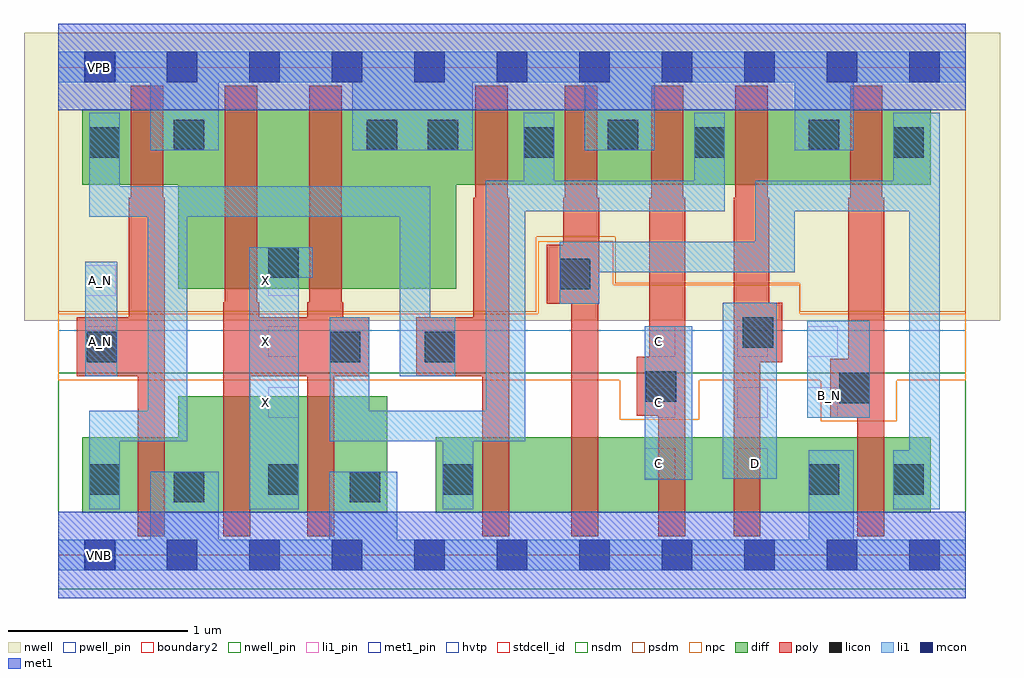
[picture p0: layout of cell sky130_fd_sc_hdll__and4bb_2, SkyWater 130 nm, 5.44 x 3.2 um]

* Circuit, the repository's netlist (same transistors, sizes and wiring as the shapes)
* Copyright 2020 The SkyWater PDK Authors
*
* Licensed under the Apache License, Version 2.0 (the "License");
* you may not use this file except in compliance with the License.
* You may obtain a copy of the License at
*
*     https://www.apache.org/licenses/LICENSE-2.0
*
* Unless required by applicable law or agreed to in writing, software
* distributed under the License is distributed on an "AS IS" BASIS,
* WITHOUT WARRANTIES OR CONDITIONS OF ANY KIND, either express or implied.
* See the License for the specific language governing permissions and
* limitations under the License.
*
* SPDX-License-Identifier: Apache-2.0

.SUBCKT sky130_fd_sc_hdll__and4bb_2 A_N B_N C D VGND VNB VPB VPWR X
*.PININFO A_N:I B_N:I C:I D:I VGND:I VNB:I VPB:I VPWR:I X:O
MMP0 y A VPWR VPB sky130_fd_pr__pfet_01v8_hvt m=1 w=0.42U l=0.18U mult=1 sa=0.265
+ sb=0.265 sd=0.28 area=0.063 perim=1.14
MMP1 y B VPWR VPB sky130_fd_pr__pfet_01v8_hvt m=1 w=0.42U l=0.18U mult=1 sa=0.265
+ sb=0.265 sd=0.28 area=0.063 perim=1.14
MMP2 y C VPWR VPB sky130_fd_pr__pfet_01v8_hvt m=1 w=0.42U l=0.18U mult=1 sa=0.265
+ sb=0.265 sd=0.28 area=0.063 perim=1.14
MMP3 y D VPWR VPB sky130_fd_pr__pfet_01v8_hvt m=1 w=0.42U l=0.18U mult=1 sa=0.265
+ sb=0.265 sd=0.28 area=0.063 perim=1.14
MMIP0 A A_N VPWR VPB sky130_fd_pr__pfet_01v8_hvt m=1 w=0.42U l=0.18U mult=1 sa=0.265
+ sb=0.265 sd=0.28 area=0.063 perim=1.14
MMIP1 B B_N VPWR VPB sky130_fd_pr__pfet_01v8_hvt m=1 w=0.42U l=0.18U mult=1 sa=0.265
+ sb=0.265 sd=0.28 area=0.063 perim=1.14
MMIP2 X y VPWR VPB sky130_fd_pr__pfet_01v8_hvt m=2 w=1.0U l=0.18U mult=1 sa=0.265
+ sb=0.265 sd=0.28 area=0.063 perim=1.14
MMN0 y A sndA VNB sky130_fd_pr__nfet_01v8 m=1 w=0.42U l=0.15U mult=1 sa=0.265 sb=0.265
+ sd=0.28 area=0.063 perim=1.14
MMN1 sndA B sndB VNB sky130_fd_pr__nfet_01v8 m=1 w=0.42U l=0.15U mult=1 sa=0.265
+ sb=0.265 sd=0.28 area=0.063 perim=1.14
MMN2 sndB C sndC VNB sky130_fd_pr__nfet_01v8 m=1 w=0.42U l=0.15U mult=1 sa=0.265
+ sb=0.265 sd=0.28 area=0.063 perim=1.14
MMN3 sndC D VGND VNB sky130_fd_pr__nfet_01v8 m=1 w=0.42U l=0.15U mult=1 sa=0.265
+ sb=0.265 sd=0.28 area=0.063 perim=1.14
MMIN0 A A_N VGND VNB sky130_fd_pr__nfet_01v8 m=1 w=0.42U l=0.15U mult=1 sa=0.265
+ sb=0.265 sd=0.28 area=0.063 perim=1.14
MMIN1 B B_N VGND VNB sky130_fd_pr__nfet_01v8 m=1 w=0.42U l=0.15U mult=1 sa=0.265
+ sb=0.265 sd=0.28 area=0.063 perim=1.14
MMIN2 X y VGND VNB sky130_fd_pr__nfet_01v8 m=2 w=0.65U l=0.15U mult=1 sa=0.265
+ sb=0.265 sd=0.28 area=0.063 perim=1.14
.ENDS sky130_fd_sc_hdll__and4bb_2

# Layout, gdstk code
import gdstk
lib = gdstk.Library(unit=1e-6, precision=1e-09)
def R(c, l, rs):  # rectangles x0, y0, x1, y1
    for r in rs: c.add(gdstk.rectangle(r[:2], r[2:], *l))
def A(c, l, x, y, w, h, nx, ny, dx, dy):  # array of equal rectangles
    R(c, l, [(x+i*dx, y+j*dy, x+i*dx+w, y+j*dy+h) for i in range(nx) for j in range(ny)])
def P(c, l, *ps):  # polygons
    for p in ps: c.add(gdstk.Polygon(p, *l))
nwell_pin = (64, 16)
nwell = (64, 20)
diff = (65, 20)
poly = (66, 20)
licon = (66, 44)
li1_pin = (67, 16)
li1 = (67, 20)
mcon = (67, 44)
met1_pin = (68, 16)
met1 = (68, 20)
hvtp = (78, 44)
stdcell_id = (81, 4)
nsdm = (93, 44)
psdm = (94, 20)
npc = (95, 20)
pwell_pin = (122, 16)
boundary2 = (236, 0)

sky130_fd_sc_hdll__and4b = lib.new_cell('sky130_fd_sc_hdll__and4bb_2')
R(sky130_fd_sc_hdll__and4b, nwell_pin, [(0.15,2.635,0.32,2.805)])
R(sky130_fd_sc_hdll__and4b, nwell, [(-0.19,1.305,5.25,2.91)])
R(sky130_fd_sc_hdll__and4b, diff, [(2.105,0.235,4.865,0.655)])
P(sky130_fd_sc_hdll__and4b, diff, [(4.865,2.485),(0.135,2.485),(0.135,2.065),(0.67,2.065),(0.67,1.485),(2.22,1.485),(2.22,2.065),(4.865,2.065)],
  [(1.835,0.885),(0.67,0.885),(0.67,0.655),(0.135,0.655),(0.135,0.235),(1.835,0.235)])
P(sky130_fd_sc_hdll__and4b, poly, [(0.595,1.99),(0.585,1.99),(0.585,2.615),(0.405,2.615),(0.405,1.99),(0.395,1.99),(0.395,1.325),(0.105,1.325),(0.105,0.995),(0.445,0.995),(0.445,0.105),(0.595,0.105)],
  [(1.735,1.325),(1.59,1.325),(1.59,1.41),(1.58,1.41),(1.58,2.615),(1.4,2.615),(1.4,1.41),(1.39,1.41),(1.39,1.325),(1.12,1.325),(1.12,1.41),(1.11,1.41),(1.11,2.615),(0.93,2.615),(0.93,1.41),(0.92,1.41),(0.92,0.105),(1.07,0.105),(1.07,0.995),(1.39,0.995),(1.39,0.105),(1.54,0.105),(1.54,0.995),(1.735,0.995)],
  [(2.515,1.99),(2.505,1.99),(2.505,2.615),(2.325,2.615),(2.325,1.99),(2.315,1.99),(2.315,1.325),(1.995,1.325),(1.995,0.995),(2.365,0.995),(2.365,0.105),(2.515,0.105)],
  [(3.015,1.99),(3.005,1.99),(3.005,2.615),(2.825,2.615),(2.825,1.99),(2.815,1.99),(2.815,1.73),(2.725,1.73),(2.725,1.4),(2.86,1.4),(2.86,0.105),(3.01,0.105),(3.01,1.4),(3.015,1.4)],
  [(3.495,1.99),(3.485,1.99),(3.485,2.615),(3.305,2.615),(3.305,1.99),(3.295,1.99),(3.295,1.105),(3.225,1.105),(3.225,0.775),(3.345,0.775),(3.345,0.105),(3.495,0.105)],
  [(4.035,1.405),(3.965,1.405),(3.965,1.99),(3.955,1.99),(3.955,2.615),(3.775,2.615),(3.775,1.99),(3.765,1.99),(3.765,0.105),(3.915,0.105),(3.915,1.075),(4.035,1.075)],
  [(4.605,1.99),(4.595,1.99),(4.595,2.615),(4.415,2.615),(4.415,1.99),(4.405,1.99),(4.405,1.095),(4.305,1.095),(4.305,0.765),(4.455,0.765),(4.455,0.105),(4.605,0.105)])
R(sky130_fd_sc_hdll__and4b, licon, [(0.645,0.295,0.815,0.465), (1.625,0.295,1.795,0.465), (0.175,0.335,0.345,0.505), (1.17,0.335,1.34,0.505), (2.145,0.335,2.315,0.505), (4.185,0.335,4.355,0.505), (4.655,0.335,4.825,0.505), (4.355,0.845,4.525,1.015), (3.275,0.855,3.445,1.025), (0.16,1.075,0.33,1.245), (1.515,1.075,1.685,1.245), (2.045,1.075,2.215,1.245), (3.815,1.155,3.985,1.325), (2.795,1.48,2.965,1.65), (1.17,1.545,1.34,1.715), (0.175,2.215,0.345,2.385), (2.595,2.215,2.765,2.385), (3.545,2.215,3.715,2.385), (4.655,2.215,4.825,2.385), (0.645,2.255,0.815,2.425), (1.72,2.255,1.89,2.425), (2.06,2.255,2.23,2.425), (3.065,2.255,3.235,2.425), (4.185,2.255,4.355,2.425)])
A(sky130_fd_sc_hdll__and4b, li1_pin, 3.27, 0.425, 0.17, 0.17, 1, 3, 0, 0.34)
A(sky130_fd_sc_hdll__and4b, li1_pin, 3.785, 0.425, 0.17, 0.17, 1, 3, 0, 0.34)
A(sky130_fd_sc_hdll__and4b, li1_pin, 1.17, 0.765, 0.17, 0.17, 1, 3, 0, 0.34)
R(sky130_fd_sc_hdll__and4b, li1_pin, [(4.175,0.765,4.345,0.935), (0.15,1.105,0.32,1.275), (4.175,1.105,4.345,1.275), (0.15,1.445,0.32,1.615)])
R(sky130_fd_sc_hdll__and4b, li1, [(3.27,0.42,3.535,1.275), (3.705,0.425,4.005,1.405), (4.175,0.765,4.525,1.305), (0.15,0.995,0.33,1.635)])
P(sky130_fd_sc_hdll__and4b, li1, [(4.915,2.465),(4.655,2.465),(4.655,2.085),(3.885,2.085),(3.885,1.745),(2.795,1.745),(2.795,1.4),(3.015,1.4),(3.015,1.575),(4.105,1.575),(4.105,1.915),(4.745,1.915),(4.745,0.585),(4.655,0.585),(4.655,0.255),(4.915,0.255)],
  [(1.42,1.715),(1.065,1.715),(1.065,0.255),(1.34,0.255),(1.34,1.545),(1.42,1.545)],
  [(5.06,0.085),(4.435,0.085),(4.435,0.585),(4.185,0.585),(4.185,0.085),(1.89,0.085),(1.89,0.465),(1.51,0.465),(1.51,0.085),(0.895,0.085),(0.895,0.465),(0.515,0.465),(0.515,0.085),(0,0.085),(0,-0.085),(5.06,-0.085)],
  [(2.215,1.325),(2.075,1.325),(2.075,2.055),(0.345,2.055),(0.345,2.465),(0.175,2.465),(0.175,1.885),(0.5,1.885),(0.5,0.805),(0.175,0.805),(0.175,0.255),(0.345,0.255),(0.345,0.635),(0.72,0.635),(0.72,1.885),(1.905,1.885),(1.905,0.995),(2.215,0.995)],
  [(5.06,2.805),(0,2.805),(0,2.635),(0.515,2.635),(0.515,2.255),(0.895,2.255),(0.895,2.635),(1.64,2.635),(1.64,2.255),(2.31,2.255),(2.31,2.635),(2.935,2.635),(2.935,2.255),(3.325,2.255),(3.325,2.635),(4.105,2.635),(4.105,2.255),(4.435,2.255),(4.435,2.635),(5.06,2.635)],
  [(3.715,2.465),(3.545,2.465),(3.545,2.085),(2.765,2.085),(2.765,2.465),(2.595,2.465),(2.595,2.085),(2.385,2.085),(2.385,0.805),(1.735,0.805),(1.735,1.325),(1.515,1.325),(1.515,0.635),(2.145,0.635),(2.145,0.255),(2.315,0.255),(2.315,0.635),(2.605,0.635),(2.605,1.915),(3.715,1.915)])
A(sky130_fd_sc_hdll__and4b, mcon, 0.145, -0.085, 0.17, 0.17, 11, 2, 0.46, 2.72)
R(sky130_fd_sc_hdll__and4b, met1_pin, [(0.15,-0.085,0.32,0.085), (0.15,2.635,0.32,2.805)])
R(sky130_fd_sc_hdll__and4b, met1, [(0,-0.24,5.06,0.24), (0,2.48,5.06,2.96)])
R(sky130_fd_sc_hdll__and4b, hvtp, [(0,1.25,5.06,2.72)])
R(sky130_fd_sc_hdll__and4b, stdcell_id, [(0,0,5.06,2.72)])
R(sky130_fd_sc_hdll__and4b, nsdm, [(0,-0.19,5.06,1.015)])
P(sky130_fd_sc_hdll__and4b, psdm, [(5.06,2.91),(0,2.91),(0,1.355),(2.665,1.355),(2.665,1.775),(3.105,1.775),(3.105,1.515),(4.135,1.515),(4.135,1.355),(5.06,1.355)])
P(sky130_fd_sc_hdll__and4b, npc, [(5.06,1.345),(4.135,1.345),(4.135,1.505),(3.095,1.505),(3.095,1.75),(2.675,1.75),(2.675,1.345),(0,1.345),(0,0.975),(3.13,0.975),(3.13,0.755),(3.575,0.755),(3.575,0.975),(4.25,0.975),(4.25,0.745),(4.675,0.745),(4.675,0.975),(5.06,0.975)])
R(sky130_fd_sc_hdll__and4b, pwell_pin, [(0.15,-0.085,0.32,0.085)])
R(sky130_fd_sc_hdll__and4b, boundary2, [(0,0,5.06,2.72)])
sky130_fd_sc_hdll__and4b.add(gdstk.Label('VNB', (0.23,0), layer=64, texttype=59))
sky130_fd_sc_hdll__and4b.add(gdstk.Label('VPB', (0.23,2.72), layer=64, texttype=5))
sky130_fd_sc_hdll__and4b.add(gdstk.Label('VGND', (0.23,0), layer=68, texttype=5))
sky130_fd_sc_hdll__and4b.add(gdstk.Label('VPWR', (0.23,2.72), layer=68, texttype=5))
sky130_fd_sc_hdll__and4b.add(gdstk.Label('A_N', (0.235,1.53), layer=67, texttype=5))
sky130_fd_sc_hdll__and4b.add(gdstk.Label('C', (3.345,0.51), layer=67, texttype=5))
sky130_fd_sc_hdll__and4b.add(gdstk.Label('B_N', (4.3,0.89), layer=67, texttype=5))
sky130_fd_sc_hdll__and4b.add(gdstk.Label('C', (3.345,0.85), layer=67, texttype=5))
sky130_fd_sc_hdll__and4b.add(gdstk.Label('X', (1.155,1.19), layer=67, texttype=5))
sky130_fd_sc_hdll__and4b.add(gdstk.Label('X', (1.155,1.53), layer=67, texttype=5))
sky130_fd_sc_hdll__and4b.add(gdstk.Label('C', (3.345,1.19), layer=67, texttype=5))
sky130_fd_sc_hdll__and4b.add(gdstk.Label('A_N', (0.235,1.19), layer=67, texttype=5))
sky130_fd_sc_hdll__and4b.add(gdstk.Label('X', (1.155,0.85), layer=67, texttype=5))
sky130_fd_sc_hdll__and4b.add(gdstk.Label('D', (3.885,0.51), layer=67, texttype=5))
sky130_fd_sc_hdll__and4b.add(gdstk.Label('and4bb_2', (0,0), layer=83, texttype=44))

lib.write_gds('sky130_fd_sc_hdll__and4bb_2.gds')
